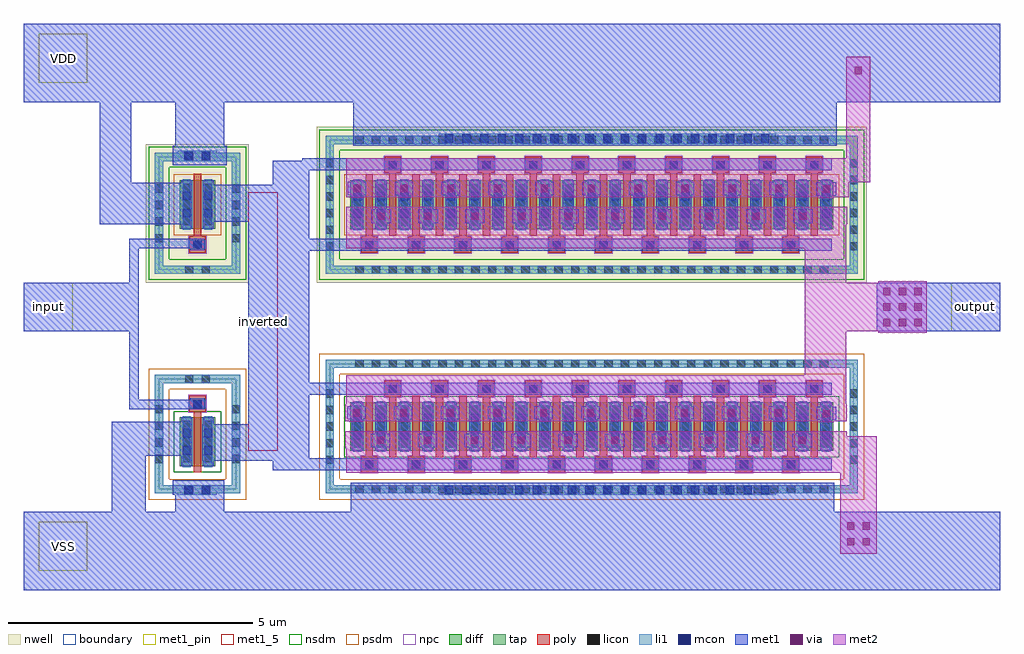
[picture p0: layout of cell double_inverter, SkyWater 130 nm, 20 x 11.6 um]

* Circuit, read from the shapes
.subckt double_inverter VDD VSS input inverted output
XM1 inverted input VSS VSS sky130_fd_pr__nfet_01v8 w=1 l=0.15
XM2 VSS inverted output VSS sky130_fd_pr__nfet_01v8 w=1 l=0.15 m=20
XM3 inverted input VDD VDD sky130_fd_pr__pfet_01v8 w=1 l=0.15
XM4 output inverted VDD VDD sky130_fd_pr__pfet_01v8 w=1 l=0.15 m=20
.ends

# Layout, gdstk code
import gdstk
lib = gdstk.Library(unit=1e-6, precision=1e-09)
def R(c, l, rs):  # rectangles x0, y0, x1, y1
    for r in rs: c.add(gdstk.rectangle(r[:2], r[2:], *l))
def A(c, l, x, y, w, h, nx, ny, dx, dy):  # array of equal rectangles
    R(c, l, [(x+i*dx, y+j*dy, x+i*dx+w, y+j*dy+h) for i in range(nx) for j in range(ny)])
nwell = (64, 20)
diff = (65, 20)
tap = (65, 44)
poly = (66, 20)
licon = (66, 44)
li1 = (67, 20)
mcon = (67, 44)
met1_5 = (68, 5)
met1_pin = (68, 16)
met1 = (68, 20)
via = (68, 44)
met2 = (69, 20)
nsdm = (93, 44)
psdm = (94, 20)
npc = (95, 20)
boundary = (235, 4)

sky130_fd_pr__nfet_01v8_ = lib.new_cell('sky130_fd_pr__nfet_01v8_FUP3AZ')
R(sky130_fd_pr__nfet_01v8_, diff, [(-4.945,-0.5,4.945,0.5)])
R(sky130_fd_pr__nfet_01v8_, tap, [(-5.455,-1.37,5.455,-1.2), (-5.455,-1.2,-5.285,1.2), (5.285,-1.2,5.455,1.2), (-5.455,1.2,5.455,1.37)])
A(sky130_fd_pr__nfet_01v8_, poly, -4.725, -0.94, 0.33, 0.33, 10, 1, 0.96, 0)
A(sky130_fd_pr__nfet_01v8_, poly, -4.155, -0.63, 0.15, 1.24, 10, 1, 0.96, 0)
A(sky130_fd_pr__nfet_01v8_, poly, -4.635, -0.61, 0.15, 1.24, 10, 1, 0.96, 0)
A(sky130_fd_pr__nfet_01v8_, poly, -4.245, 0.61, 0.33, 0.33, 10, 1, 0.96, 0)
A(sky130_fd_pr__nfet_01v8_, licon, -4.845, -1.37, 0.17, 0.17, 29, 2, 0.34, 2.57)
A(sky130_fd_pr__nfet_01v8_, licon, -4.645, -0.86, 0.17, 0.17, 10, 1, 0.96, 0)
A(sky130_fd_pr__nfet_01v8_, licon, -5.455, -0.765, 0.17, 0.17, 1, 5, 0, 0.34)
A(sky130_fd_pr__nfet_01v8_, licon, 5.285, -0.765, 0.17, 0.17, 1, 5, 0, 0.34)
A(sky130_fd_pr__nfet_01v8_, licon, -4.885, -0.425, 0.17, 0.17, 21, 3, 0.48, 0.34)
A(sky130_fd_pr__nfet_01v8_, licon, -4.165, 0.69, 0.17, 0.17, 10, 1, 0.96, 0)
A(sky130_fd_pr__nfet_01v8_, li1, -4.725, -0.86, 0.33, 0.17, 10, 1, 0.96, 0)
A(sky130_fd_pr__nfet_01v8_, li1, -4.885, -0.52, 0.17, 1.04, 21, 1, 0.48, 0)
A(sky130_fd_pr__nfet_01v8_, li1, -4.245, 0.69, 0.33, 0.17, 10, 1, 0.96, 0)
R(sky130_fd_pr__nfet_01v8_, li1, [(-5.455,-1.37,5.455,-1.2), (-5.455,-1.2,-5.285,1.2), (5.285,-1.2,5.455,1.2), (-5.455,1.2,5.455,1.37)])
A(sky130_fd_pr__nfet_01v8_, mcon, -4.645, -0.86, 0.17, 0.17, 10, 1, 0.96, 0)
A(sky130_fd_pr__nfet_01v8_, mcon, -4.885, -0.265, 0.17, 0.17, 21, 2, 0.48, 0.36)
A(sky130_fd_pr__nfet_01v8_, mcon, -4.165, 0.69, 0.17, 0.17, 10, 1, 0.96, 0)
A(sky130_fd_pr__nfet_01v8_, met1, -4.705, -0.89, 0.29, 0.23, 10, 1, 0.96, 0)
A(sky130_fd_pr__nfet_01v8_, met1, -4.915, -0.5, 0.23, 1, 21, 1, 0.48, 0)
A(sky130_fd_pr__nfet_01v8_, met1, -4.225, 0.66, 0.29, 0.23, 10, 1, 0.96, 0)
R(sky130_fd_pr__nfet_01v8_, nsdm, [(-5.07,-0.625,5.07,0.625)])
R(sky130_fd_pr__nfet_01v8_, psdm, [(-5.58,-1.495,5.58,-1.075), (-5.58,-1.075,-5.16,1.075), (5.16,-1.075,5.58,1.075), (-5.58,1.075,5.58,1.495)])
A(sky130_fd_pr__nfet_01v8_, npc, -4.745, -0.96, 0.37, 0.37, 10, 1, 0.96, 0)
A(sky130_fd_pr__nfet_01v8_, npc, -4.265, 0.59, 0.37, 0.37, 10, 1, 0.96, 0)
R(sky130_fd_pr__nfet_01v8_, boundary, [(-5.37,-1.285,5.37,1.285)])

c_sky130_fd_pr__nfet_01v8_ = lib.new_cell('sky130_fd_pr__nfet_01v8_64Z3AY')
R(c_sky130_fd_pr__nfet_01v8_, diff, [(-0.365,-0.655,0.365,0.345)])
R(c_sky130_fd_pr__nfet_01v8_, tap, [(-0.875,-1.215,0.875,-1.045), (-0.875,-1.045,-0.705,1.045), (0.705,-1.045,0.875,1.045), (-0.875,1.045,0.875,1.215)])
R(c_sky130_fd_pr__nfet_01v8_, poly, [(-0.075,-0.785,0.075,0.455), (-0.165,0.455,0.165,0.785)])
A(c_sky130_fd_pr__nfet_01v8_, licon, -0.875, -0.595, 0.17, 0.17, 1, 4, 0, 0.34)
A(c_sky130_fd_pr__nfet_01v8_, licon, 0.705, -0.595, 0.17, 0.17, 1, 4, 0, 0.34)
A(c_sky130_fd_pr__nfet_01v8_, licon, -0.305, -0.58, 0.17, 0.17, 1, 3, 0, 0.34)
A(c_sky130_fd_pr__nfet_01v8_, licon, 0.135, -0.58, 0.17, 0.17, 1, 3, 0, 0.34)
R(c_sky130_fd_pr__nfet_01v8_, licon, [(-0.255,-1.215,-0.085,-1.045), (0.085,-1.215,0.255,-1.045), (-0.085,0.535,0.085,0.705), (-0.255,1.045,-0.085,1.215), (0.085,1.045,0.255,1.215)])
R(c_sky130_fd_pr__nfet_01v8_, li1, [(-0.875,-1.215,0.875,-1.045), (-0.875,-1.045,-0.705,1.045), (0.705,-1.045,0.875,1.045), (-0.305,-0.675,-0.135,0.365), (0.135,-0.675,0.305,0.365), (-0.165,0.535,0.165,0.705), (-0.875,1.045,0.875,1.215)])
R(c_sky130_fd_pr__nfet_01v8_, mcon, [(-0.305,-0.42,-0.135,-0.25), (0.135,-0.42,0.305,-0.25), (-0.305,-0.06,-0.135,0.11), (0.135,-0.06,0.305,0.11), (-0.085,0.535,0.085,0.705)])
R(c_sky130_fd_pr__nfet_01v8_, met1, [(-0.335,-0.655,-0.105,0.345), (0.105,-0.655,0.335,0.345), (-0.145,0.505,0.145,0.735)])
R(c_sky130_fd_pr__nfet_01v8_, nsdm, [(-0.49,-0.78,0.49,0.47)])
R(c_sky130_fd_pr__nfet_01v8_, psdm, [(-1,-1.34,1,-0.92), (-1,-0.92,-0.58,0.92), (0.58,-0.92,1,0.92), (-1,0.92,1,1.34)])
R(c_sky130_fd_pr__nfet_01v8_, npc, [(-0.185,0.435,0.185,0.805)])
R(c_sky130_fd_pr__nfet_01v8_, boundary, [(-0.79,-1.13,0.79,1.13)])

sky130_fd_pr__pfet_01v8_ = lib.new_cell('sky130_fd_pr__pfet_01v8_MGS3BN')
R(sky130_fd_pr__pfet_01v8_, nwell, [(-1.055,-1.42,1.055,1.42)])
R(sky130_fd_pr__pfet_01v8_, diff, [(-0.365,-0.68,0.365,0.32)])
R(sky130_fd_pr__pfet_01v8_, tap, [(-0.875,-1.24,0.875,-1.07), (-0.875,-1.07,-0.705,1.07), (0.705,-1.07,0.875,1.07), (-0.875,1.07,0.875,1.24)])
R(sky130_fd_pr__pfet_01v8_, poly, [(-0.075,-0.81,0.075,0.475), (-0.165,0.475,0.165,0.805)])
A(sky130_fd_pr__pfet_01v8_, licon, -0.305, -0.605, 0.17, 0.17, 1, 3, 0, 0.34)
A(sky130_fd_pr__pfet_01v8_, licon, 0.135, -0.605, 0.17, 0.17, 1, 3, 0, 0.34)
A(sky130_fd_pr__pfet_01v8_, licon, -0.875, -0.595, 0.17, 0.17, 1, 4, 0, 0.34)
A(sky130_fd_pr__pfet_01v8_, licon, 0.705, -0.595, 0.17, 0.17, 1, 4, 0, 0.34)
R(sky130_fd_pr__pfet_01v8_, licon, [(-0.255,-1.24,-0.085,-1.07), (0.085,-1.24,0.255,-1.07), (-0.085,0.555,0.085,0.725), (-0.255,1.07,-0.085,1.24), (0.085,1.07,0.255,1.24)])
R(sky130_fd_pr__pfet_01v8_, li1, [(-0.875,-1.24,0.875,-1.07), (-0.875,-1.07,-0.705,1.07), (0.705,-1.07,0.875,1.07), (-0.305,-0.7,-0.135,0.34), (0.135,-0.7,0.305,0.34), (-0.165,0.555,0.165,0.725), (-0.875,1.07,0.875,1.24)])
R(sky130_fd_pr__pfet_01v8_, mcon, [(-0.305,-0.445,-0.135,-0.275), (0.135,-0.445,0.305,-0.275), (-0.305,-0.085,-0.135,0.085), (0.135,-0.085,0.305,0.085), (-0.085,0.555,0.085,0.725)])
R(sky130_fd_pr__pfet_01v8_, met1, [(-0.335,-0.68,-0.105,0.32), (0.105,-0.68,0.335,0.32), (-0.145,0.525,0.145,0.755)])
R(sky130_fd_pr__pfet_01v8_, nsdm, [(-1,-1.365,1,-0.945), (-1,-0.945,-0.58,0.945), (0.58,-0.945,1,0.945), (-1,0.945,1,1.365)])
R(sky130_fd_pr__pfet_01v8_, psdm, [(-0.49,-0.805,0.49,0.445)])
R(sky130_fd_pr__pfet_01v8_, npc, [(-0.185,0.455,0.185,0.825)])
R(sky130_fd_pr__pfet_01v8_, boundary, [(-0.79,-1.155,0.79,1.155)])

c_sky130_fd_pr__pfet_01v8_ = lib.new_cell('sky130_fd_pr__pfet_01v8_2DVCWQ')
R(c_sky130_fd_pr__pfet_01v8_, nwell, [(-5.635,-1.595,5.635,1.595)])
R(c_sky130_fd_pr__pfet_01v8_, diff, [(-4.945,-0.5,4.945,0.5)])
R(c_sky130_fd_pr__pfet_01v8_, tap, [(-5.455,-1.415,5.455,-1.245), (-5.455,-1.245,-5.285,1.245), (5.285,-1.245,5.455,1.245), (-5.455,1.245,5.455,1.415)])
A(c_sky130_fd_pr__pfet_01v8_, poly, -4.725, -0.985, 0.33, 0.33, 10, 1, 0.96, 0)
A(c_sky130_fd_pr__pfet_01v8_, poly, -4.635, -0.655, 0.15, 1.285, 10, 1, 0.96, 0)
A(c_sky130_fd_pr__pfet_01v8_, poly, -4.155, -0.63, 0.15, 1.285, 10, 1, 0.96, 0)
A(c_sky130_fd_pr__pfet_01v8_, poly, -4.245, 0.655, 0.33, 0.33, 10, 1, 0.96, 0)
A(c_sky130_fd_pr__pfet_01v8_, licon, -4.845, -1.415, 0.17, 0.17, 29, 2, 0.34, 2.66)
A(c_sky130_fd_pr__pfet_01v8_, licon, -5.455, -0.935, 0.17, 0.17, 1, 6, 0, 0.34)
A(c_sky130_fd_pr__pfet_01v8_, licon, 5.285, -0.935, 0.17, 0.17, 1, 6, 0, 0.34)
A(c_sky130_fd_pr__pfet_01v8_, licon, -4.645, -0.905, 0.17, 0.17, 10, 1, 0.96, 0)
A(c_sky130_fd_pr__pfet_01v8_, licon, -4.885, -0.425, 0.17, 0.17, 21, 3, 0.48, 0.34)
A(c_sky130_fd_pr__pfet_01v8_, licon, -4.165, 0.735, 0.17, 0.17, 10, 1, 0.96, 0)
A(c_sky130_fd_pr__pfet_01v8_, li1, -4.725, -0.905, 0.33, 0.17, 10, 1, 0.96, 0)
A(c_sky130_fd_pr__pfet_01v8_, li1, -4.885, -0.52, 0.17, 1.04, 21, 1, 0.48, 0)
A(c_sky130_fd_pr__pfet_01v8_, li1, -4.245, 0.735, 0.33, 0.17, 10, 1, 0.96, 0)
R(c_sky130_fd_pr__pfet_01v8_, li1, [(-5.455,-1.415,5.455,-1.245), (-5.455,-1.245,-5.285,1.245), (5.285,-1.245,5.455,1.245), (-5.455,1.245,5.455,1.415)])
A(c_sky130_fd_pr__pfet_01v8_, mcon, -4.645, -0.905, 0.17, 0.17, 10, 1, 0.96, 0)
A(c_sky130_fd_pr__pfet_01v8_, mcon, -4.885, -0.265, 0.17, 0.17, 21, 2, 0.48, 0.36)
A(c_sky130_fd_pr__pfet_01v8_, mcon, -4.165, 0.735, 0.17, 0.17, 10, 1, 0.96, 0)
A(c_sky130_fd_pr__pfet_01v8_, met1, -4.705, -0.935, 0.29, 0.23, 10, 1, 0.96, 0)
A(c_sky130_fd_pr__pfet_01v8_, met1, -4.915, -0.5, 0.23, 1, 21, 1, 0.48, 0)
A(c_sky130_fd_pr__pfet_01v8_, met1, -4.225, 0.705, 0.29, 0.23, 10, 1, 0.96, 0)
R(c_sky130_fd_pr__pfet_01v8_, nsdm, [(-5.58,-1.54,5.58,-1.12), (-5.58,-1.12,-5.16,1.12), (5.16,-1.12,5.58,1.12), (-5.58,1.12,5.58,1.54)])
R(c_sky130_fd_pr__pfet_01v8_, psdm, [(-5.07,-0.625,5.07,0.625)])
A(c_sky130_fd_pr__pfet_01v8_, npc, -4.745, -1.005, 0.37, 0.37, 10, 1, 0.96, 0)
A(c_sky130_fd_pr__pfet_01v8_, npc, -4.265, 0.635, 0.37, 0.37, 10, 1, 0.96, 0)
R(c_sky130_fd_pr__pfet_01v8_, boundary, [(-5.37,-1.33,5.37,1.33)])

double_inverter = lib.new_cell('double_inverter')
R(double_inverter, li1, [(12.15,-10.35,12.95,-10.15), (17.5,-10.35,24.4,-10.15), (12.15,-3.5,12.95,-3.3), (17.5,-3.15,24.4,-2.95)])
A(double_inverter, mcon, 17.625, -10.335, 0.17, 0.17, 19, 2, 0.36, 7.2)
R(double_inverter, mcon, [(12.285,-10.335,12.455,-10.165), (12.645,-10.335,12.815,-10.165), (12.285,-3.485,12.455,-3.315), (12.645,-3.485,12.815,-3.315)])
R(double_inverter, met1_5, [(13.6,-9.45,14.2,-4.15)])
R(double_inverter, met1_pin, [(9.3,-11.9,10.3,-10.9), (9,-7,10,-6), (28,-7,29,-6), (9.3,-1.9,10.3,-0.9)])
A(double_inverter, met1, 16.105, -9.375, 0.405, 0.28, 10, 1, 0.96, 0)
A(double_inverter, met1, 15.62, -8.805, 0.38, 0.275, 10, 1, 0.96, 0)
A(double_inverter, met1, 16.12, -4.78, 0.405, 0.28, 10, 1, 0.96, 0)
A(double_inverter, met1, 15.635, -4.21, 0.38, 0.275, 10, 1, 0.96, 0)
R(double_inverter, met1, [(9,-12.3,29,-10.7), (10.8,-10.7,11.5,-9.55), (12.1,-10.7,13.1,-10.35), (15.7,-10.7,25.6,-10.1), (12.05,-10.35,13.1,-10.05), (14.1,-9.85,25.55,-9.65), (12.65,-9.65,25.55,-9.6), (12.65,-9.6,14.85,-8.9), (10.8,-9.55,12.45,-8.85), (13.6,-8.9,14.85,-8.3), (25.235,-8.815,25.645,-8.54), (11.155,-8.595,12.695,-8.4), (11.155,-8.4,11.35,-7), (13.6,-8.3,25.55,-8.05), (13.6,-8.05,14.85,-5.35), (9,-7,11.35,-6), (26.47,-7,29,-6), (11.155,-6,11.35,-5.3), (13.6,-5.35,25.55,-5.1), (11.155,-5.3,12.695,-5.105), (13.6,-5.1,14.85,-4.75), (10.55,-4.8,12.45,-3.95), (12.7,-4.75,14.85,-4), (25.235,-4.22,25.645,-3.945), (14.1,-4,14.85,-3.7), (10.55,-3.95,11.2,-2.3), (14.1,-3.7,25.55,-3.5), (12.05,-3.6,13.15,-3.2), (14.7,-3.5,25.55,-3.45), (12.1,-3.2,13.1,-2.3), (15.75,-3.2,25.65,-2.3), (9,-2.3,29,-0.7)])
A(double_inverter, via, 16.23, -9.31, 0.15, 0.15, 10, 1, 0.96, 0)
A(double_inverter, via, 15.735, -8.745, 0.15, 0.15, 10, 1, 0.96, 0)
A(double_inverter, via, 26.605, -6.895, 0.15, 0.15, 3, 3, 0.32, 0.32)
A(double_inverter, via, 16.245, -4.715, 0.15, 0.15, 10, 1, 0.96, 0)
A(double_inverter, via, 15.75, -4.15, 0.15, 0.15, 10, 1, 0.96, 0)
R(double_inverter, via, [(25.865,-11.385,26.015,-11.235), (26.185,-11.385,26.335,-11.235), (25.865,-11.065,26.015,-10.915), (26.185,-11.065,26.335,-10.915), (25.365,-8.755,25.515,-8.605), (25.365,-4.16,25.515,-4.01), (26.02,-1.73,26.17,-1.58)])
A(double_inverter, met2, 15.67, -8.855, 0.28, 0.01, 10, 1, 0.96, 0)
A(double_inverter, met2, 15.685, -4.26, 0.28, 0.01, 10, 1, 0.96, 0)
R(double_inverter, met2, [(25.725,-11.555,26.475,-9.9), (15.6,-9.9,26.475,-9.395), (15.585,-9.395,26.475,-9.15), (15.585,-9.15,25.855,-9.045), (25.285,-8.865,25.595,-8.845), (15.585,-8.845,25.855,-8.495), (15.6,-8.495,25.85,-7.9), (25,-7.9,25.85,-7), (26.5,-7.03,27.5,-7), (25,-7,27.5,-6), (25,-6,25.85,-5.3), (26.5,-6,27.5,-5.97), (15.6,-5.3,25.85,-4.8), (15.6,-4.8,25.87,-4.45), (25.285,-4.27,25.595,-4.25), (15.6,-4.25,25.9,-3.945), (15.6,-3.945,26.345,-3.45), (25.85,-3.45,26.345,-1.375)])
double_inverter.add(gdstk.Reference(sky130_fd_pr__nfet_01v8_, (20.635,-8.95)))
double_inverter.add(gdstk.Reference(c_sky130_fd_pr__nfet_01v8_, (12.555,-9.105)))
double_inverter.add(gdstk.Reference(sky130_fd_pr__pfet_01v8_, (12.555,-4.58), x_reflection=True))
double_inverter.add(gdstk.Reference(c_sky130_fd_pr__pfet_01v8_, (20.635,-4.405)))
double_inverter.add(gdstk.Label('inverted', (13.9,-6.8), layer=68, texttype=5))
double_inverter.add(gdstk.Label('VDD', (9.8,-1.4), layer=68, texttype=5))
double_inverter.add(gdstk.Label('VSS', (9.8,-11.4), layer=68, texttype=5))
double_inverter.add(gdstk.Label('output', (28.5,-6.5), layer=68, texttype=5))
double_inverter.add(gdstk.Label('input', (9.5,-6.5), layer=68, texttype=5))

lib.write_gds('double_inverter.gds')
